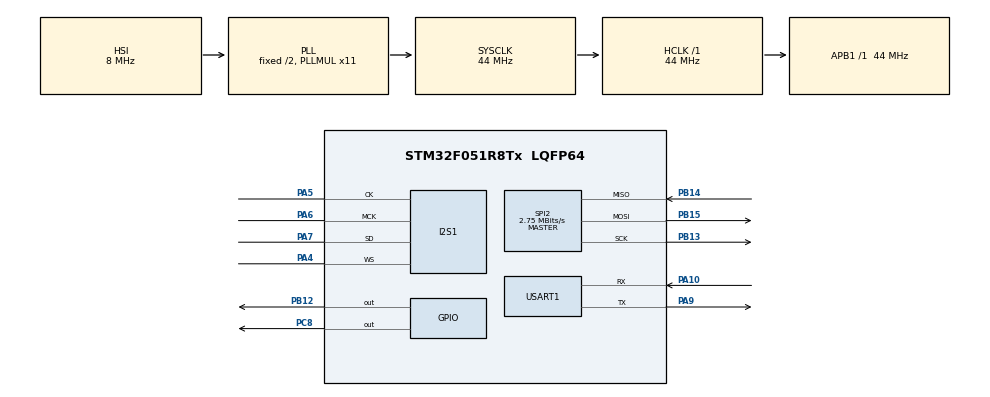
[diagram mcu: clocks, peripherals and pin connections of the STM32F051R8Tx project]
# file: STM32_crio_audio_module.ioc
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Dma.Request0=SPI1_TX
Dma.SPI1_TX.0.Direction=DMA_MEMORY_TO_PERIPH
Dma.SPI1_TX.0.Instance=DMA1_Channel3
Dma.SPI1_TX.0.MemDataAlignment=DMA_MDATAALIGN_HALFWORD
Dma.SPI1_TX.0.MemInc=DMA_MINC_ENABLE
Dma.SPI1_TX.0.Mode=DMA_NORMAL
Dma.SPI1_TX.0.PeriphDataAlignment=DMA_PDATAALIGN_HALFWORD
Dma.SPI1_TX.0.PeriphInc=DMA_PINC_DISABLE
Dma.SPI1_TX.0.Priority=DMA_PRIORITY_LOW
FATFS._MAX_SS=1024
FATFS._MIN_SS=512
FATFS._USE_LFN=1
I2S1.AudioFreq=I2S_AUDIOFREQ_44K
I2S1.ErrorAudioFreq=-2.34 %
I2S1.FullDuplexMode=I2S_FULLDUPLEXMODE_DISABLE
I2S1.Instance=SPI$Index
I2S1.MCLKOutput=I2S_MCLKOUTPUT_ENABLE
I2S1.RealAudioFreq=42.968 KHz
I2S1.Standard=I2S_STANDARD_MSB
I2S1.VirtualMode=I2S_MODE_MASTER
Mcu.Family=STM32F0
Mcu.Name=STM32F051R8Tx
Mcu.Package=LQFP64
NVIC.DMA1_Channel2_3_IRQn=true\:0\:0\:false\:false\:true\:false\:true\:true
PA10.Mode=Asynchronous
PA10.Signal=USART1_RX
PA13.Mode=Serial_Wire
PA13.Signal=SYS_SWDIO
PA14.Mode=Serial_Wire
PA14.Signal=SYS_SWCLK
PA4.Mode=Half_Duplex_Master
PA4.Signal=I2S1_WS
PA5.Mode=Half_Duplex_Master
PA5.Signal=I2S1_CK
PA6.Mode=Master_Clock_Activated
PA6.Signal=I2S1_MCK
PA7.Mode=Half_Duplex_Master
PA7.Signal=I2S1_SD
PA9.Mode=Asynchronous
PA9.Signal=USART1_TX
PB12.PinState=GPIO_PIN_SET
PB12.Signal=GPIO_Output
PB13.Mode=Full_Duplex_Master
PB13.Signal=SPI2_SCK
PB14.Mode=Full_Duplex_Master
PB14.Signal=SPI2_MISO
PB15.Mode=Full_Duplex_Master
PB15.Signal=SPI2_MOSI
PC8.Signal=GPIO_Output
ProjectManager.HeapSize=0x200
ProjectManager.StackSize=0x400
ProjectManager.TargetToolchain=STM32CubeIDE
RCC.AHBFreq_Value=44000000
RCC.APB1Freq_Value=44000000
RCC.APB1TimFreq_Value=44000000
RCC.HCLKFreq_Value=44000000
RCC.PLLMUL=RCC_PLL_MUL11
RCC.SYSCLKFreq_VALUE=44000000
RCC.SYSCLKSource=RCC_SYSCLKSOURCE_PLLCLK
SPI2.BaudRatePrescaler=SPI_BAUDRATEPRESCALER_16
SPI2.CalculateBaudRate=2.75 MBits/s
SPI2.DataSize=SPI_DATASIZE_8BIT
SPI2.Direction=SPI_DIRECTION_2LINES
SPI2.Mode=SPI_MODE_MASTER
SPI2.VirtualType=VM_MASTER
USART1.VirtualMode-Asynchronous=VM_ASYNC
VP_FATFS_VS_Generic.Mode=User_defined
board=custom

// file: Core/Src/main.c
/* USER CODE BEGIN Header */
/**
  ******************************************************************************
  * @file           : main.c
  * @brief          : Main program body
  ******************************************************************************
  * @attention
  *
  * Copyright (c) 2023 STMicroelectronics.
  * All rights reserved.
  *
  * This software is licensed under terms that can be found in the LICENSE file
  * in the root directory of this software component.
  * If no LICENSE file comes with this software, it is provided AS-IS.
  *
  ******************************************************************************
  */
/* USER CODE END Header */
#include <wavPlayer.h>
#include "main.h"
#include "fatfs.h"

/* USER CODE BEGIN Includes */
#include "sd.h"
#include "string.h"
#include "math.h"
/* USER CODE END Includes */

I2S_HandleTypeDef hi2s1;
DMA_HandleTypeDef hdma_spi1_tx;

SPI_HandleTypeDef hspi2;

UART_HandleTypeDef huart1;

void SystemClock_Config(void);
static void MX_GPIO_Init(void);
static void MX_DMA_Init(void);
static void MX_SPI2_Init(void);
static void MX_USART1_UART_Init(void);
static void MX_I2S1_Init(void);

int main(void)
{

  /* MCU Configuration--------------------------------------------------------*/

  /* Reset of all peripherals, Initializes the Flash interface and the Systick. */
  HAL_Init();

  /* Configure the system clock */
  SystemClock_Config();

  /* Initialize all configured peripherals */
  MX_GPIO_Init();
  MX_DMA_Init();
  MX_SPI2_Init();
  MX_FATFS_Init();
  MX_USART1_UART_Init();
  MX_I2S1_Init();
  /* USER CODE BEGIN 2 */

  SDMount();
  WAVPlayerFileSelect("test1.wav");
  WAVPlayerPlay(&hi2s1);

  /* USER CODE END 2 */

  /* Infinite loop */
  while (1)
  {

    /* USER CODE BEGIN 3 */
	  //HAL_I2S_Transmit(&hi2s1, (uint16_t*)audio_data, 2 * BUFFER_SIZE, HAL_MAX_DELAY);
	  //HAL_Delay(500);
  }
  /* USER CODE END 3 */
}

void SystemClock_Config(void)
{
  RCC_OscInitTypeDef RCC_OscInitStruct = {0};
  RCC_ClkInitTypeDef RCC_ClkInitStruct = {0};
  RCC_PeriphCLKInitTypeDef PeriphClkInit = {0};

  /** Initializes the RCC Oscillators according to the specified parameters
  * in the RCC_OscInitTypeDef structure.
  */
  RCC_OscInitStruct.OscillatorType = RCC_OSCILLATORTYPE_HSI;
  RCC_OscInitStruct.HSIState = RCC_HSI_ON;
  RCC_OscInitStruct.HSICalibrationValue = RCC_HSICALIBRATION_DEFAULT;
  RCC_OscInitStruct.PLL.PLLState = RCC_PLL_ON;
  RCC_OscInitStruct.PLL.PLLSource = RCC_PLLSOURCE_HSI;
  RCC_OscInitStruct.PLL.PLLMUL = RCC_PLL_MUL11;
  RCC_OscInitStruct.PLL.PREDIV = RCC_PREDIV_DIV1;
  if (HAL_RCC_OscConfig(&RCC_OscInitStruct) != HAL_OK)
  {
    Error_Handler();
  }

  /** Initializes the CPU, AHB and APB buses clocks
  */
  RCC_ClkInitStruct.ClockType = RCC_CLOCKTYPE_HCLK|RCC_CLOCKTYPE_SYSCLK
                              |RCC_CLOCKTYPE_PCLK1;
  RCC_ClkInitStruct.SYSCLKSource = RCC_SYSCLKSOURCE_PLLCLK;
  RCC_ClkInitStruct.AHBCLKDivider = RCC_SYSCLK_DIV1;
  RCC_ClkInitStruct.APB1CLKDivider = RCC_HCLK_DIV1;

  if (HAL_RCC_ClockConfig(&RCC_ClkInitStruct, FLASH_LATENCY_1) != HAL_OK)
  {
    Error_Handler();
  }
  PeriphClkInit.PeriphClockSelection = RCC_PERIPHCLK_USART1;
  PeriphClkInit.Usart1ClockSelection = RCC_USART1CLKSOURCE_PCLK1;
  if (HAL_RCCEx_PeriphCLKConfig(&PeriphClkInit) != HAL_OK)
  {
    Error_Handler();
  }
}

static void MX_I2S1_Init(void)
{

  hi2s1.Instance = SPI1;
  hi2s1.Init.Mode = I2S_MODE_MASTER_TX;
  hi2s1.Init.Standard = I2S_STANDARD_MSB;
  hi2s1.Init.DataFormat = I2S_DATAFORMAT_16B;
  hi2s1.Init.MCLKOutput = I2S_MCLKOUTPUT_ENABLE;
  hi2s1.Init.AudioFreq = I2S_AUDIOFREQ_44K;
  hi2s1.Init.CPOL = I2S_CPOL_LOW;
  if (HAL_I2S_Init(&hi2s1) != HAL_OK)
  {
    Error_Handler();
  }

}

static void MX_SPI2_Init(void)
{

  /* USER CODE BEGIN SPI2_Init 0 */
	__HAL_RCC_SPI2_CLK_ENABLE();
  /* USER CODE END SPI2_Init 0 */

  /* SPI2 parameter configuration*/
  hspi2.Instance = SPI2;
  hspi2.Init.Mode = SPI_MODE_MASTER;
  hspi2.Init.Direction = SPI_DIRECTION_2LINES;
  hspi2.Init.DataSize = SPI_DATASIZE_8BIT;
  hspi2.Init.CLKPolarity = SPI_POLARITY_LOW;
  hspi2.Init.CLKPhase = SPI_PHASE_1EDGE;
  hspi2.Init.NSS = SPI_NSS_SOFT;
  hspi2.Init.BaudRatePrescaler = SPI_BAUDRATEPRESCALER_16;
  hspi2.Init.FirstBit = SPI_FIRSTBIT_MSB;
  hspi2.Init.TIMode = SPI_TIMODE_DISABLE;
  hspi2.Init.CRCCalculation = SPI_CRCCALCULATION_DISABLE;
  hspi2.Init.CRCPolynomial = 7;
  hspi2.Init.CRCLength = SPI_CRC_LENGTH_DATASIZE;
  hspi2.Init.NSSPMode = SPI_NSS_PULSE_ENABLE;
  if (HAL_SPI_Init(&hspi2) != HAL_OK)
  {
    Error_Handler();
  }

}

static void MX_USART1_UART_Init(void)
{

  huart1.Instance = USART1;
  huart1.Init.BaudRate = 38400;
  huart1.Init.WordLength = UART_WORDLENGTH_8B;
  huart1.Init.StopBits = UART_STOPBITS_1;
  huart1.Init.Parity = UART_PARITY_NONE;
  huart1.Init.Mode = UART_MODE_TX_RX;
  huart1.Init.HwFlowCtl = UART_HWCONTROL_NONE;
  huart1.Init.OverSampling = UART_OVERSAMPLING_16;
  huart1.Init.OneBitSampling = UART_ONE_BIT_SAMPLE_DISABLE;
  huart1.AdvancedInit.AdvFeatureInit = UART_ADVFEATURE_NO_INIT;
  if (HAL_UART_Init(&huart1) != HAL_OK)
  {
    Error_Handler();
  }

}

static void MX_DMA_Init(void)
{

  /* DMA controller clock enable */
  __HAL_RCC_DMA1_CLK_ENABLE();

  /* DMA interrupt init */
  /* DMA1_Channel2_3_IRQn interrupt configuration */
  HAL_NVIC_SetPriority(DMA1_Channel2_3_IRQn, 0, 0);
  HAL_NVIC_EnableIRQ(DMA1_Channel2_3_IRQn);

}

static void MX_GPIO_Init(void)
{
  GPIO_InitTypeDef GPIO_InitStruct = {0};

  /* GPIO Ports Clock Enable */
  __HAL_RCC_GPIOA_CLK_ENABLE();
  __HAL_RCC_GPIOB_CLK_ENABLE();
  __HAL_RCC_GPIOC_CLK_ENABLE();

  /*Configure GPIO pin Output Level */
  HAL_GPIO_WritePin(GPIOB, GPIO_PIN_12, GPIO_PIN_SET);

  /*Configure GPIO pin Output Level */
  HAL_GPIO_WritePin(GPIOC, GPIO_PIN_8, GPIO_PIN_RESET);

  /*Configure GPIO pin : PB12 */
  GPIO_InitStruct.Pin = GPIO_PIN_12;
  GPIO_InitStruct.Mode = GPIO_MODE_OUTPUT_PP;
  GPIO_InitStruct.Pull = GPIO_NOPULL;
  GPIO_InitStruct.Speed = GPIO_SPEED_FREQ_LOW;
  HAL_GPIO_Init(GPIOB, &GPIO_InitStruct);

  /*Configure GPIO pin : PC8 */
  GPIO_InitStruct.Pin = GPIO_PIN_8;
  GPIO_InitStruct.Mode = GPIO_MODE_OUTPUT_PP;
  GPIO_InitStruct.Pull = GPIO_NOPULL;
  GPIO_InitStruct.Speed = GPIO_SPEED_FREQ_LOW;
  HAL_GPIO_Init(GPIOC, &GPIO_InitStruct);

}

/* USER CODE BEGIN 4 */

void HAL_I2S_TxCpltCallback(I2S_HandleTypeDef *hi2s)
{
	bool bufferHalf = false;
	WAVPlayerFillBuffer(&hi2s1, bufferHalf);
}

void HAL_I2S_TxHalfCpltCallback(I2S_HandleTypeDef *hi2s)
{
	bool bufferHalf = true;
	WAVPlayerFillBuffer(&hi2s1, bufferHalf);
}

void SendStringUART(char* s)
{
	HAL_UART_Transmit(&huart1, (uint8_t*)s, strlen(s), 1000);
}

/* USER CODE END 4 */

void Error_Handler(void)
{
  __disable_irq();
  while (1)
  {
  }
}
